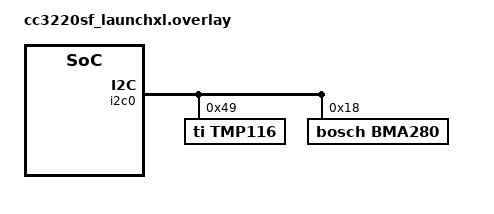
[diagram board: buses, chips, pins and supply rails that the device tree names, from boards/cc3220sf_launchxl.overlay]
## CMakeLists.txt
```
# SPDX-License-Identifier: Apache-2.0

cmake_minimum_required(VERSION 3.28.0)

find_package(Zephyr REQUIRED HINTS $ENV{ZEPHYR_BASE})
project(sensor_shell)

target_sources(app PRIVATE src/main.c)

target_sources_ifdef(CONFIG_SAMPLES_SENSOR_SHELL_FAKE_SENSOR app PRIVATE
  src/fake_sensor.c
)

target_include_directories(app PRIVATE include)
```

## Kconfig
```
# Copyright (c) 2023 Google LLC
# SPDX-License-Identifier: Apache-2.0

config SAMPLES_SENSOR_SHELL_FAKE_SENSOR
	bool "Enable fake sensor"
	default y
	depends on DT_HAS_VND_FAKE_SENSOR_ENABLED
	help
	  On boards that do not have a sensor, enabling this will build a fake
	  sensor that can be interacted with via the sensor shell.

source "Kconfig.zephyr"
```

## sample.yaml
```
sample:
  name: Shell Sensor Module Sample
common:
  tags:
    - sensor
    - shell

tests:
  sample.sensor.shell:
    integration_platforms:
      - frdm_k64f
    # TODO Remove once #63414 is resolved
    platform_exclude: gd32l233r_eval
    filter: ( CONFIG_UART_CONSOLE and CONFIG_SERIAL_SUPPORT_INTERRUPT )
    harness: keyboard
    min_ram: 20
    min_flash: 33
  sample.sensor.shell.sync:
    build_only: true
    integration_platforms:
      - frdm_k64f
    extra_configs:
      - CONFIG_RTIO_CONSUME_SEM=n
      - CONFIG_SENSOR_ASYNC_API=n
  sample.sensor.shell.pytest:
    platform_exclude: qemu_rx
    filter: CONFIG_SERIAL and dt_chosen_enabled("zephyr,shell-uart")
    min_ram: 40
    harness: pytest
    timeout: 180
    extra_configs:
      - arch:posix:CONFIG_UART_NATIVE_PTY_0_ON_STDINOUT=y
      - platform:iotdk/arc_iot:CONFIG_ARC_IOT_CUSTOM_CPU_IDLE=y
    extra_args: DTC_OVERLAY_FILE=fake_sensor.overlay
    integration_platforms:
      - native_sim
  sample.sensor.shell.shields:
    platform_allow:
      - adafruit_qt_py_rp2040/rp2040
    extra_args:
      - platform:adafruit_qt_py_rp2040/rp2040:SHIELD="adafruit_ina237"
```

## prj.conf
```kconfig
CONFIG_SHELL=y
CONFIG_BOOT_BANNER=n
CONFIG_SENSOR=y
CONFIG_SENSOR_SHELL=y
CONFIG_SENSOR_INFO=y

CONFIG_LOG=y
CONFIG_RTIO_CONSUME_SEM=y

CONFIG_MAIN_STACK_SIZE=2048
```

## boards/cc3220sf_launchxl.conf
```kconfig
CONFIG_I2C=y
CONFIG_TMP116=y
CONFIG_BMA280=y
CONFIG_BMA280_TRIGGER_NONE=y
```

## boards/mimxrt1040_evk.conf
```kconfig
CONFIG_FXLS8974_TRIGGER_OWN_THREAD=n
CONFIG_FXLS8974_TRIGGER_NONE=y
```

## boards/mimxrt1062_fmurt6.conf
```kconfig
CONFIG_BMP3XX_TRIGGER_NONE=y
```

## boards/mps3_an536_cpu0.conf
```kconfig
CONFIG_SHELL_STACK_SIZE=4096
CONFIG_SHELL_BACKEND_SERIAL_TX_RING_BUFFER_SIZE=1024
CONFIG_SHELL_PRINTF_BUFF_SIZE=256
# This board defaults to QEMU icount mode (CONFIG_QEMU_ICOUNT=y,
# QEMU_ICOUNT_SHIFT=7), which advances virtual time slowly in wall-clock terms.
# The interrupt-driven shell then cannot drain the large "sensor get" burst and
# echo the next command within the harness's wall-clock timeouts, so the test
# times out. Disable icount so the guest runs at host speed.
CONFIG_QEMU_ICOUNT=n
```

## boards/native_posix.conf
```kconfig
# Copyright (c) 2023 Intel Corporation
#
# SPDX-License-Identifier: Apache-2.0

CONFIG_EMUL=y
CONFIG_EMUL_BMI160=y
CONFIG_BMI160_TRIGGER_NONE=y
```

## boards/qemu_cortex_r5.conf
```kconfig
CONFIG_SHELL_STACK_SIZE=4096
CONFIG_SHELL_BACKEND_SERIAL_TX_RING_BUFFER_SIZE=1024
CONFIG_SHELL_PRINTF_BUFF_SIZE=256
CONFIG_SHELL_BACKEND_SERIAL_FORCE_TX_BLOCKING_MODE=y
```

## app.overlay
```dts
/*
 * Copyright (c) 2024 Meta Platforms
 *
 * SPDX-License-Identifier: Apache-2.0
 */

 / {
	app {
		#address-cells = <1>;
		#size-cells = <0>;

		vsensor0: sensor@0 {
			compatible = "vnd,fake-sensor";
			reg = <0>;
			friendly-name = "Fake sensor 0";
			status = "okay";
		};

		vsensor1: sensor@1 {
			compatible = "vnd,fake-sensor";
			reg = <1>;
			friendly-name = "Fake sensor 1";
			status = "okay";
		};
	};
};
```

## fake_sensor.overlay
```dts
/*
 * Copyright (c) 2024 Meta Platforms
 *
 * SPDX-License-Identifier: Apache-2.0
 */

/ {
	app {
		#address-cells = <1>;
		#size-cells = <0>;

		vsensor0: sensor@0 {
			compatible = "vnd,fake-sensor";
			reg = <0>;
			friendly-name = "Fake sensor 0";
			status = "okay";
		};

		vsensor1: sensor@1 {
			compatible = "vnd,fake-sensor";
			reg = <1>;
			friendly-name = "Fake sensor 1";
			status = "okay";
		};
	};
};
```

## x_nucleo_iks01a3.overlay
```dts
/*
 * Copyright (c) 2022 Intel Corporation
 *
 * SPDX-License-Identifier: Apache-2.0
 */

&lis2mdl_1e {
	friendly-name = "Base Magnetometer";

	base_magn: magn {
		status = "okay";
	};
};

&lis2dw12_19 {
	friendly-name = "Lid Accelerometer";

	lid_accel: accel {
		status = "okay";
	};
};

&lsm6dso_6b {
	friendly-name = "Base Accelerometer/Gyroscope";

	base_accel: accel {
		rotation-matrix = <0 1 0
				   1 0 0
				   0 0 (-1)>;
		status = "okay";
	};

	base_gyro: gyro {
		rotation-matrix = <0 1 0
				   1 0 0
				   0 0 1>;
		status = "okay";
	};

	base_die_temp: die-temp {
		status = "okay";
	};
};
```

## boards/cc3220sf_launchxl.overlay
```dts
/*
 * Copyright (c) 2020 Amarula Solutions.
 *
 * SPDX-License-Identifier: Apache-2.0
 */

&i2c0 {
	tmp116: tmp116@49 {
		compatible = "ti,tmp116";
		reg = <0x49>;
		label = "TMP116";
	};

	bma280: bma280@18 {
		compatible = "bosch,bma280";
		reg = <0x18>;
		label = "BMA280";
	};
};
```

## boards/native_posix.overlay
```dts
/*
 * Copyright (c) 2023 Intel Corporation
 *
 * SPDX-License-Identifier: Apache-2.0
 */

/ {
	virtual-sensors {
		hinge-angle {
			compatible = "sensor-virtual";
			friendly-name = "Hinge Angle";
			reporters = <&lid_accel 10 0>, <&base_accel 5 0>;
			reporter-names = "lid-accel", "base-accel";
			status = "okay";
		};

		motion-detect {
			compatible = "sensor-virtual";
			friendly-name = "Motion Detect";
			reporters = <&base_accel 20 0>;
			status = "okay";
		};
	};
};

&i2c0 {
	base_accel: bmi160@1 {
		compatible = "bosch,bmi160";
		reg = <0x1>;
		friendly-name = "Base Accelerometer";
		#reporter-cells = <2>;
	};

	lid_accel: bmi160@2 {
		compatible = "bosch,bmi160";
		reg = <0x2>;
		friendly-name = "Lid Accelerometer";
		#reporter-cells = <2>;
	};
};
```

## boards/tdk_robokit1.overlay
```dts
/* Copyright (c) 2023 Google LLC
 * SPDX-License-Identifier: Apache-2.0
 */

 #include <zephyr/sensing/sensor_types.h>

/ {
	lidaccel: accelgyro {
		compatible = "zephyr,sensing-pipe";
		status = "okay";
		friendly-name = "Lid accel";
		dev = <&icm42688>;
		sensor-types = <SENSING_SENSOR_TYPE_MOTION_ACCELEROMETER_3D SENSING_SENSOR_TYPE_MOTION_GYROMETER_3D>;
	};

	baseaccel: accelemul {
		compatible = "sensing,emul";
		status = "okay";
		friendly-name = "Base accel";
		sensor-types = <SENSING_SENSOR_TYPE_MOTION_ACCELEROMETER_3D>;
	};

	angle: angle {
		compatible = "sensing,accel-based-angle";
		status = "okay";
		plane0 = <&lidaccel>;
		plane1 = <&baseaccel>;
	};
};
```

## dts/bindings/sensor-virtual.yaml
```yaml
# Copyright (c) 2023 Intel Corporation
#
# SPDX-License-Identifier: Apache-2.0

description: Virtual Sensor

compatible: "sensor-virtual"

include: sensor-device.yaml
```

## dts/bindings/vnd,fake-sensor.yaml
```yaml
# Copyright (c) 2024 Meta Platforms
# SPDX-License-Identifier: Apache-2.0

description: Fake sensor

include: sensor-device.yaml

compatible: "vnd,fake-sensor"
```

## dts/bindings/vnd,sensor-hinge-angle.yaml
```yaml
# Copyright (c) 2022 Intel Corporation
#
# SPDX-License-Identifier: Apache-2.0

description: Hinge Angle Virtual Sensor

include: sensor-virtual.yaml

compatible: "vnd,sensor-hinge-angle"

properties:
    vendor:
      default: "Vendor"

    model:
      default: "Hingle Angle"
```

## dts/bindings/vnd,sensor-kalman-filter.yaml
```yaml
# Copyright (c) 2022 Intel Corporation
#
# SPDX-License-Identifier: Apache-2.0

description: Kalman Filter Virtual Sensor

include: sensor-virtual.yaml

compatible: "vnd,sensor-kalman-filter"

properties:
    vendor:
      default: "Vendor"

    model:
      default: "Kalman Filter"
```

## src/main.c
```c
/*
 * Copyright (c) 2018 Diego Sueiro
 *
 * SPDX-License-Identifier: Apache-2.0
 */

/*
 * This sample app launches a shell. Interact with it using the `sensor` command. See
 * `drivers/sensor/sensor_shell.c`. There is nothing to do in the main thread.
 */

int main(void)
{
	return 0;
}
```

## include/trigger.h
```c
/*
 * Copyright (c) 2023 Google LLC
 *
 * SPDX-License-Identifier: Apache-2.0
 */

#ifndef ZEPHYR_SAMPLES_SENSOR_SENSOR_SHELL_INCLUDE_TRIGGER_H
#define ZEPHYR_SAMPLES_SENSOR_SENSOR_SHELL_INCLUDE_TRIGGER_H

#include <zephyr/device.h>
#include <zephyr/drivers/sensor.h>

void sensor_shell_data_ready_trigger_handler(const struct device *sensor,
					     const struct sensor_trigger *trigger);

#endif /* ZEPHYR_SAMPLES_SENSOR_SENSOR_SHELL_INCLUDE_TRIGGER_H */
```

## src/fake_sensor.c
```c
/*
 * Copyright (c) 2024 Meta Platforms
 *
 * SPDX-License-Identifier: Apache-2.0
 */

#define DT_DRV_COMPAT vnd_fake_sensor

#include <zephyr/device.h>
#include <zephyr/drivers/sensor.h>
#include <zephyr/logging/log.h>

LOG_MODULE_REGISTER(fake_sensor);

static int init(const struct device *dev)
{
	ARG_UNUSED(dev);

	return 0;
}

static int attr_set(const struct device *dev, enum sensor_channel chan, enum sensor_attribute attr,
		    const struct sensor_value *val)
{
	LOG_DBG("[%s] dev: %p, chan: %d, attr: %d, val1: %d, val2: %d", __func__, dev, chan, attr,
		val->val1, val->val2);

	return 0;
}

static int attr_get(const struct device *dev, enum sensor_channel chan, enum sensor_attribute attr,
		    struct sensor_value *val)
{
	LOG_DBG("[%s] dev: %p, chan: %d, attr: %d", __func__, dev, chan, attr);

	val->val1 = chan;
	val->val2 = attr * 100000;

	return 0;
}

static int sample_fetch(const struct device *dev, enum sensor_channel chan)
{
	LOG_DBG("[%s] dev: %p, chan: %d", __func__, dev, chan);

	return 0;
}

static int channel_get(const struct device *dev, enum sensor_channel chan, struct sensor_value *val)
{
	LOG_DBG("[%s] dev: %p, chan: %d", __func__, dev, chan);

	switch (chan) {
	case SENSOR_CHAN_ACCEL_XYZ:
		__fallthrough;
	case SENSOR_CHAN_GYRO_XYZ:
		__fallthrough;
	case SENSOR_CHAN_MAGN_XYZ:
		__fallthrough;
	case SENSOR_CHAN_POS_DXYZ:
		for (int i = 0; i < 3; i++, val++) {
			val->val1 = chan;
			val->val2 = 1;
		}
		break;
	default:
		val->val1 = chan;
		val->val2 = 1;
		break;
	}

	return 0;
}

static int trigger_set(const struct device *dev, const struct sensor_trigger *trig,
		       sensor_trigger_handler_t handler)
{
	LOG_DBG("[%s - %s] dev: %p, trig->chan: %d, trig->type: %d, handler: %p", __func__,
		(handler == NULL) ? "off" : "on", dev, trig->chan, trig->type, handler);

	return 0;
}

static DEVICE_API(sensor, api) = {
	.attr_get = attr_get,
	.attr_set = attr_set,
	.sample_fetch = sample_fetch,
	.channel_get = channel_get,
	.trigger_set = trigger_set,
};

#define VND_SENSOR_INIT(n)                                                                         \
	SENSOR_DEVICE_DT_INST_DEFINE(n, init, NULL, NULL, NULL, POST_KERNEL,                       \
				     CONFIG_SENSOR_INIT_PRIORITY, &api);

DT_INST_FOREACH_STATUS_OKAY(VND_SENSOR_INIT)
```

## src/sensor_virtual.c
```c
/*
 * Copyright (c) 2023 Intel Corporation
 *
 * SPDX-License-Identifier: Apache-2.0
 */

#define DT_DRV_COMPAT sensor_virtual

#include <zephyr/drivers/sensor.h>

struct sensor_virtual_config {
};

struct sensor_virtual_data {
};

static int sensor_virtual_sample_fetch(const struct device *dev,
		enum sensor_channel chan)
{
	return -ENOTSUP;
}

static int sensor_virtual_channel_get(const struct device *dev,
		enum sensor_channel chan, struct sensor_value *val)
{
	return -ENOTSUP;
}

static const struct sensor_driver_api sensor_virtual_driver_api = {
	.sample_fetch = sensor_virtual_sample_fetch,
	.channel_get = sensor_virtual_channel_get,
};

static int sensor_virtual_init(const struct device *dev)
{
	return 0;
}

#define SENSOR_VIRTUAL_INIT(n)						\
	static const struct sensor_virtual_config			\
		sensor_virtual_config_##n;				\
									\
	static struct sensor_virtual_data sensor_virtual_data_##n;	\
									\
	SENSOR_DEVICE_DT_INST_DEFINE(n,					\
				     sensor_virtual_init,		\
				     NULL,				\
				     &sensor_virtual_data_##n,		\
				     &sensor_virtual_config_##n,	\
				     POST_KERNEL,			\
				     CONFIG_SENSOR_INIT_PRIORITY,	\
				     &sensor_virtual_driver_api);

DT_INST_FOREACH_STATUS_OKAY(SENSOR_VIRTUAL_INIT)
```

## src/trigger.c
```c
/*
 * Copyright (c) 2023 Google LLC
 *
 * SPDX-License-Identifier: Apache-2.0
 */

#include "trigger.h"

#include <zephyr/device.h>
#include <zephyr/drivers/sensor.h>
#include <zephyr/logging/log.h>

LOG_MODULE_DECLARE(app);

enum sample_stats_state {
	SAMPLE_STATS_STATE_UNINITIALIZED = 0,
	SAMPLE_STATS_STATE_ENABLED,
	SAMPLE_STATS_STATE_DISABLED,
};

struct sample_stats {
	int64_t accumulator;
	uint32_t count;
	uint64_t sample_window_start;
	enum sample_stats_state state;
};

void sensor_shell_data_ready_trigger_handler(const struct device *sensor,
					     const struct sensor_trigger *trigger)
{
	static struct sample_stats stats[SENSOR_CHAN_ALL];
	const int64_t now = k_uptime_get();
	struct sensor_value value;

	ARG_UNUSED(trigger);

	if (sensor_sample_fetch(sensor)) {
		LOG_ERR("Failed to fetch samples on data ready handler");
	}
	for (int i = 0; i < SENSOR_CHAN_ALL; ++i) {
		int rc;

		/* Skip disabled channels */
		if (stats[i].state == SAMPLE_STATS_STATE_DISABLED) {
			continue;
		}
		/* Skip 3 axis channels */
		if (i == SENSOR_CHAN_ACCEL_XYZ || i == SENSOR_CHAN_GYRO_XYZ ||
		    i == SENSOR_CHAN_MAGN_XYZ) {
			continue;
		}

		rc = sensor_channel_get(sensor, i, &value);
		if (rc == -ENOTSUP && stats[i].state == SAMPLE_STATS_STATE_UNINITIALIZED) {
			/* Stop reading this channel if the driver told us it's not supported. */
			stats[i].state = SAMPLE_STATS_STATE_DISABLED;
		}
		if (rc != 0) {
			/* Skip on any error. */
			continue;
		}
		/* Do something with the data */
		stats[i].accumulator += value.val1 * INT64_C(1000000) + value.val2;
		if (stats[i].count++ == 0) {
			stats[i].sample_window_start = now;
		} else if (now > stats[i].sample_window_start + CONFIG_SAMPLE_PRINT_TIMEOUT_MS) {
			int64_t micro_value = stats[i].accumulator / stats[i].count;

			value.val1 = micro_value / 1000000;
			value.val2 = (int32_t)llabs(micro_value - (value.val1 * 1000000));
			LOG_INF("chan=%d, num_samples=%u, data=%d.%06d", i, stats[i].count,
				value.val1, value.val2);

			stats[i].accumulator = 0;
			stats[i].count = 0;
		}
	}
}
```
